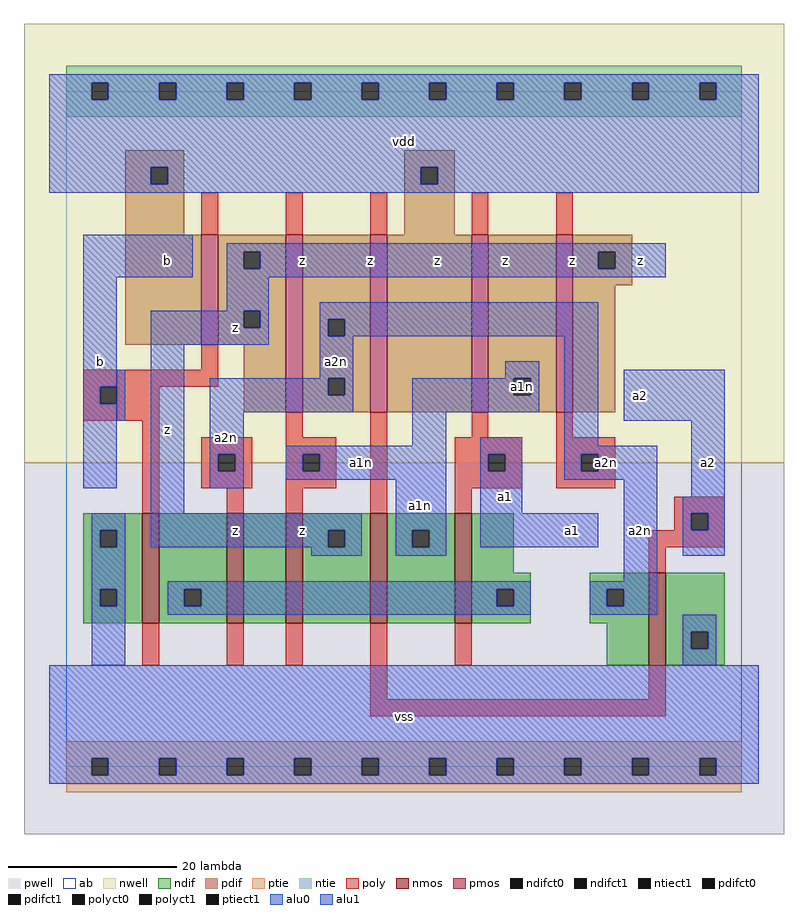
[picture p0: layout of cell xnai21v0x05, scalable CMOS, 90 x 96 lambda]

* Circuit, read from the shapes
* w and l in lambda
.subckt xnai21v0x05 a1 a1n a2 a2n b vdd vss z
M1 n1 b vss vss nfet w=13 l=2
M2 n2 a2n n1 vss nfet w=13 l=2
M3 z a1n n2 vss nfet w=13 l=2
M4 a1n a2 z vss nfet w=13 l=2
M5 n1 a1 a1n vss nfet w=13 l=2
M6 vss a2 a2n vss nfet w=11 l=2
M7 z b vdd vdd pfet w=13 l=2
M8 a2n a1n z vdd pfet w=21 l=2
M9 vdd a2 a2n vdd pfet w=21 l=2
M10 a1n a1 vdd vdd pfet w=21 l=2
M11 z a2n a1n vdd pfet w=21 l=2
.ends

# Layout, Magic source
magic
tech scmos
<< ab >>
rect 0 0 80 80
<< nwell >>
rect -5 36 85 88
<< pwell >>
rect -5 -8 85 36
<< poly >>
rect 16 63 18 68
rect 26 63 28 68
rect 36 63 38 68
rect 48 63 50 68
rect 58 63 60 68
rect 16 47 18 50
rect 2 45 18 47
rect 2 43 4 45
rect 6 43 11 45
rect 2 41 11 43
rect 9 30 11 41
rect 26 39 28 42
rect 16 37 22 39
rect 16 35 18 37
rect 20 35 22 37
rect 16 33 22 35
rect 26 37 32 39
rect 26 35 28 37
rect 30 35 32 37
rect 26 33 32 35
rect 19 30 21 33
rect 26 30 28 33
rect 36 30 38 42
rect 48 39 50 42
rect 58 39 60 42
rect 46 37 54 39
rect 46 35 50 37
rect 52 35 54 37
rect 46 33 54 35
rect 58 37 65 39
rect 58 35 61 37
rect 63 35 65 37
rect 58 33 65 35
rect 46 30 48 33
rect 72 30 78 32
rect 72 28 74 30
rect 76 28 78 30
rect 69 26 78 28
rect 69 23 71 26
rect 9 12 11 17
rect 19 12 21 17
rect 26 12 28 17
rect 36 8 38 17
rect 46 12 48 17
rect 69 8 71 12
rect 36 6 71 8
<< ndif >>
rect 2 28 9 30
rect 2 26 4 28
rect 6 26 9 28
rect 2 21 9 26
rect 2 19 4 21
rect 6 19 9 21
rect 2 17 9 19
rect 11 21 19 30
rect 11 19 14 21
rect 16 19 19 21
rect 11 17 19 19
rect 21 17 26 30
rect 28 28 36 30
rect 28 26 31 28
rect 33 26 36 28
rect 28 17 36 26
rect 38 28 46 30
rect 38 26 41 28
rect 43 26 46 28
rect 38 17 46 26
rect 48 23 53 30
rect 48 21 55 23
rect 48 19 51 21
rect 53 19 55 21
rect 48 17 55 19
rect 62 21 69 23
rect 62 19 64 21
rect 66 19 69 21
rect 62 17 69 19
rect 64 12 69 17
rect 71 16 78 23
rect 71 14 74 16
rect 76 14 78 16
rect 71 12 78 14
<< pdif >>
rect 7 71 14 73
rect 7 69 10 71
rect 12 69 14 71
rect 7 63 14 69
rect 40 71 46 73
rect 40 69 42 71
rect 44 69 46 71
rect 40 63 46 69
rect 7 50 16 63
rect 18 61 26 63
rect 18 59 21 61
rect 23 59 26 61
rect 18 54 26 59
rect 18 52 21 54
rect 23 52 26 54
rect 18 50 26 52
rect 21 42 26 50
rect 28 53 36 63
rect 28 51 31 53
rect 33 51 36 53
rect 28 46 36 51
rect 28 44 31 46
rect 33 44 36 46
rect 28 42 36 44
rect 38 42 48 63
rect 50 46 58 63
rect 50 44 53 46
rect 55 44 58 46
rect 50 42 58 44
rect 60 61 67 63
rect 60 59 63 61
rect 65 59 67 61
rect 60 57 67 59
rect 60 42 65 57
<< alu1 >>
rect -2 81 82 82
rect -2 79 3 81
rect 5 79 11 81
rect 13 79 19 81
rect 21 79 27 81
rect 29 79 35 81
rect 37 79 43 81
rect 45 79 51 81
rect 53 79 59 81
rect 61 79 67 81
rect 69 79 75 81
rect 77 79 82 81
rect -2 71 82 79
rect -2 69 10 71
rect 12 69 42 71
rect 44 69 82 71
rect -2 68 82 69
rect 2 58 15 63
rect 19 61 71 62
rect 19 59 21 61
rect 23 59 63 61
rect 65 59 71 61
rect 19 58 71 59
rect 2 45 6 58
rect 19 54 24 58
rect 10 52 21 54
rect 23 52 24 54
rect 10 50 24 52
rect 2 43 4 45
rect 2 33 6 43
rect 10 30 14 50
rect 10 28 35 30
rect 10 26 31 28
rect 33 26 35 28
rect 29 25 35 26
rect 49 37 54 39
rect 49 35 50 37
rect 52 35 54 37
rect 49 30 54 35
rect 66 41 78 47
rect 49 26 63 30
rect 74 32 78 41
rect 73 30 78 32
rect 73 28 74 30
rect 76 28 78 30
rect 73 25 78 28
rect -2 1 82 12
rect -2 -1 3 1
rect 5 -1 11 1
rect 13 -1 19 1
rect 21 -1 27 1
rect 29 -1 35 1
rect 37 -1 43 1
rect 45 -1 51 1
rect 53 -1 59 1
rect 61 -1 67 1
rect 69 -1 75 1
rect 77 -1 82 1
rect -2 -2 82 -1
<< ptie >>
rect 0 1 80 3
rect 0 -1 3 1
rect 5 -1 11 1
rect 13 -1 19 1
rect 21 -1 27 1
rect 29 -1 35 1
rect 37 -1 43 1
rect 45 -1 51 1
rect 53 -1 59 1
rect 61 -1 67 1
rect 69 -1 75 1
rect 77 -1 80 1
rect 0 -3 80 -1
<< ntie >>
rect 0 81 80 83
rect 0 79 3 81
rect 5 79 11 81
rect 13 79 19 81
rect 21 79 27 81
rect 29 79 35 81
rect 37 79 43 81
rect 45 79 51 81
rect 53 79 59 81
rect 61 79 67 81
rect 69 79 75 81
rect 77 79 80 81
rect 0 77 80 79
<< nmos >>
rect 9 17 11 30
rect 19 17 21 30
rect 26 17 28 30
rect 36 17 38 30
rect 46 17 48 30
rect 69 12 71 23
<< pmos >>
rect 16 50 18 63
rect 26 42 28 63
rect 36 42 38 63
rect 48 42 50 63
rect 58 42 60 63
<< polyct0 >>
rect 18 35 20 37
rect 28 35 30 37
rect 61 35 63 37
<< polyct1 >>
rect 4 43 6 45
rect 50 35 52 37
rect 74 28 76 30
<< ndifct0 >>
rect 4 26 6 28
rect 4 19 6 21
rect 14 19 16 21
rect 41 26 43 28
rect 51 19 53 21
rect 64 19 66 21
rect 74 14 76 16
<< ndifct1 >>
rect 31 26 33 28
<< ntiect1 >>
rect 3 79 5 81
rect 11 79 13 81
rect 19 79 21 81
rect 27 79 29 81
rect 35 79 37 81
rect 43 79 45 81
rect 51 79 53 81
rect 59 79 61 81
rect 67 79 69 81
rect 75 79 77 81
<< ptiect1 >>
rect 3 -1 5 1
rect 11 -1 13 1
rect 19 -1 21 1
rect 27 -1 29 1
rect 35 -1 37 1
rect 43 -1 45 1
rect 51 -1 53 1
rect 59 -1 61 1
rect 67 -1 69 1
rect 75 -1 77 1
<< pdifct0 >>
rect 31 51 33 53
rect 31 44 33 46
rect 53 44 55 46
<< pdifct1 >>
rect 10 69 12 71
rect 42 69 44 71
rect 21 59 23 61
rect 21 52 23 54
rect 63 59 65 61
<< alu0 >>
rect 30 53 63 55
rect 30 51 31 53
rect 33 51 63 53
rect 6 41 7 47
rect 30 46 34 51
rect 52 46 56 48
rect 17 44 31 46
rect 33 44 34 46
rect 17 42 34 44
rect 41 44 53 46
rect 55 44 56 46
rect 41 42 56 44
rect 17 37 21 42
rect 41 38 45 42
rect 17 35 18 37
rect 20 35 21 37
rect 17 33 21 35
rect 26 37 45 38
rect 26 35 28 37
rect 30 35 45 37
rect 26 34 45 35
rect 3 28 7 30
rect 3 26 4 28
rect 6 26 7 28
rect 3 21 7 26
rect 39 28 45 34
rect 39 26 41 28
rect 43 26 45 28
rect 59 38 63 51
rect 59 37 70 38
rect 59 35 61 37
rect 63 35 70 37
rect 59 34 70 35
rect 39 25 45 26
rect 66 22 70 34
rect 3 19 4 21
rect 6 19 7 21
rect 3 12 7 19
rect 12 21 55 22
rect 12 19 14 21
rect 16 19 51 21
rect 53 19 55 21
rect 12 18 55 19
rect 62 21 70 22
rect 62 19 64 21
rect 66 19 70 21
rect 62 18 70 19
rect 73 16 77 18
rect 73 14 74 16
rect 76 14 77 16
rect 73 12 77 14
<< labels >>
rlabel alu0 32 48 32 48 6 a2n
rlabel alu0 19 39 19 39 6 a2n
rlabel alu0 35 36 35 36 6 a1n
rlabel alu0 42 31 42 31 6 a1n
rlabel pdifct0 54 45 54 45 6 a1n
rlabel alu0 68 28 68 28 6 a2n
rlabel alu0 64 36 64 36 6 a2n
rlabel alu1 12 40 12 40 6 z
rlabel alu1 4 48 4 48 6 b
rlabel alu1 12 60 12 60 6 b
rlabel alu1 20 28 20 28 6 z
rlabel alu1 28 28 28 28 6 z
rlabel alu1 20 52 20 52 6 z
rlabel alu1 28 60 28 60 6 z
rlabel alu1 36 60 36 60 6 z
rlabel alu1 40 6 40 6 6 vss
rlabel alu1 52 32 52 32 6 a1
rlabel alu1 52 60 52 60 6 z
rlabel alu1 44 60 44 60 6 z
rlabel alu1 40 74 40 74 6 vdd
rlabel alu1 60 28 60 28 6 a1
rlabel alu1 76 36 76 36 6 a2
rlabel alu1 68 44 68 44 6 a2
rlabel alu1 68 60 68 60 6 z
rlabel alu1 60 60 60 60 6 z
<< end >>
